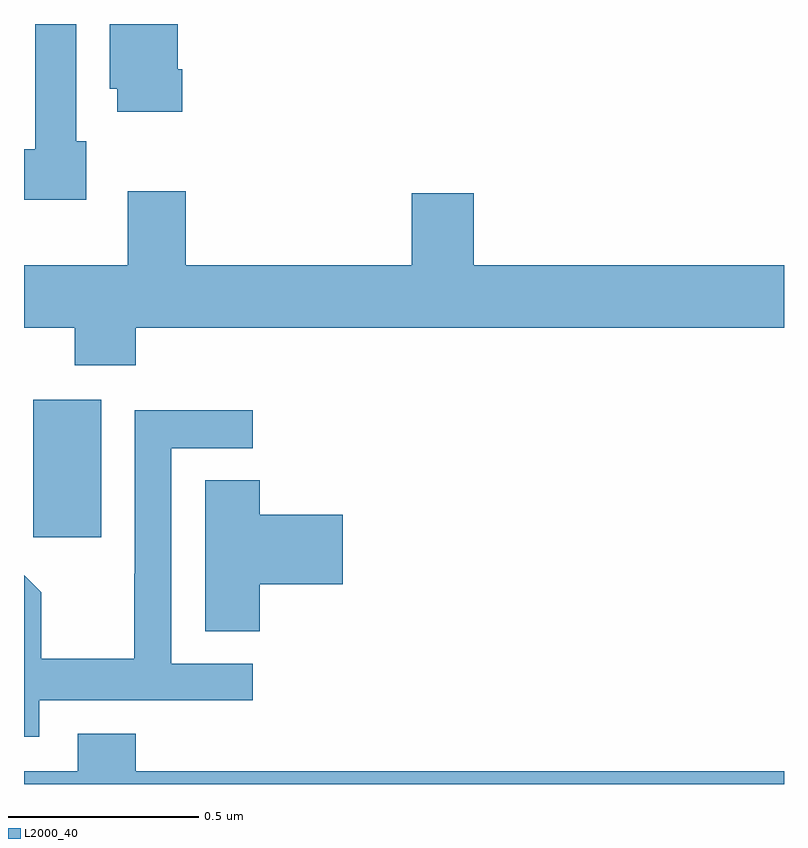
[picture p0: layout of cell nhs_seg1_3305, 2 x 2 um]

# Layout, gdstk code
import gdstk
lib = gdstk.Library(unit=1e-6, precision=1e-09)
def R(c, l, rs):  # rectangles x0, y0, x1, y1
    for r in rs: c.add(gdstk.rectangle(r[:2], r[2:], *l))
def P(c, l, *ps):  # polygons
    for p in ps: c.add(gdstk.Polygon(p, *l))
L2000_40 = (2000, 40)

nhs_seg1_3305 = lib.new_cell('nhs_seg1_3305')
R(nhs_seg1_3305, L2000_40, [(152.024,549.849,152.203,550.21)])
P(nhs_seg1_3305, L2000_40, [(152.164,550.89),(152.137,550.89),(152.137,551.199),(152.03,551.199),(152.03,550.87),(152,550.87),(152,550.736),(152.164,550.736)],
  [(152.417,551.08),(152.404,551.08),(152.404,551.199),(152.225,551.199),(152.225,551.028),(152.246,551.028),(152.246,550.968),(152.417,550.968)],
  [(152.294,550.4),(154,550.4),(154,550.564),(153.184,550.564),(153.184,550.753),(153.02,550.753),(153.02,550.564),(152.426,550.564),(152.426,550.759),(152.273,550.759),(152.273,550.564),(152,550.564),(152,550.4),(152.134,550.4),(152.134,550.301),(152.294,550.301)],
  [(152.04,549.42),(152.602,549.42),(152.602,549.516),(152.388,549.516),(152.388,550.083),(152.602,550.083),(152.602,550.182),(152.292,550.182),(152.292,549.752),(152.29,549.752),(152.29,549.529),(152.045,549.529),(152.045,549.703),(152,549.748),(152,549.323),(152.04,549.323)],
  [(152.621,549.725),(152.839,549.725),(152.839,549.908),(152.621,549.908),(152.621,549.998),(152.477,549.998),(152.477,549.601),(152.621,549.601)],
  [(154,549.232),(152.294,549.232),(152.294,549.331),(152.141,549.331),(152.141,549.232),(152,549.232),(152,549.199),(154,549.199)])

lib.write_gds('nhs_seg1_3305.gds')
